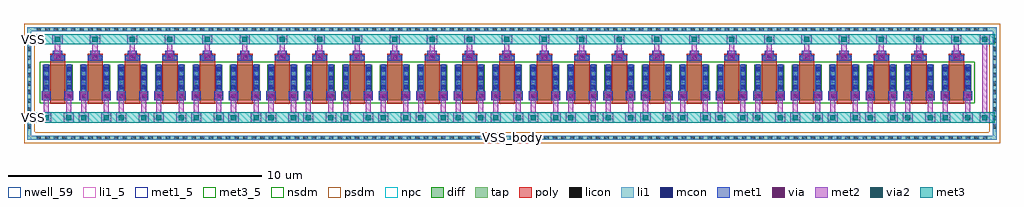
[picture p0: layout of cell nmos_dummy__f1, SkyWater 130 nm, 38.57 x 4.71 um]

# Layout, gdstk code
from math import pi, radians
import gdstk
lib = gdstk.Library(unit=1e-6, precision=1e-09)
def R(c, l, rs):  # rectangles x0, y0, x1, y1
    for r in rs: c.add(gdstk.rectangle(r[:2], r[2:], *l))
def A(c, l, x, y, w, h, nx, ny, dx, dy):  # array of equal rectangles
    R(c, l, [(x+i*dx, y+j*dy, x+i*dx+w, y+j*dy+h) for i in range(nx) for j in range(ny)])
nwell_59 = (64, 59)
diff = (65, 20)
tap = (65, 44)
poly = (66, 20)
licon = (66, 44)
li1_5 = (67, 5)
li1 = (67, 20)
mcon = (67, 44)
met1_5 = (68, 5)
met1 = (68, 20)
via = (68, 44)
met2 = (69, 20)
via2 = (69, 44)
met3_5 = (70, 5)
met3 = (70, 20)
nsdm = (93, 44)
psdm = (94, 20)
npc = (95, 20)

sky130_fd_pr__nfet_01v8_ = lib.new_cell('sky130_fd_pr__nfet_01v8_RUA5M6')
R(sky130_fd_pr__nfet_01v8_, diff, [(-0.59,-0.855,0.59,0.545)])
R(sky130_fd_pr__nfet_01v8_, poly, [(-0.3,-0.985,0.3,0.985)])
A(sky130_fd_pr__nfet_01v8_, licon, -0.53, -0.75, 0.17, 0.17, 1, 4, 0, 0.34)
A(sky130_fd_pr__nfet_01v8_, licon, 0.36, -0.75, 0.17, 0.17, 1, 4, 0, 0.34)
R(sky130_fd_pr__nfet_01v8_, licon, [(-0.085,0.735,0.085,0.905)])
R(sky130_fd_pr__nfet_01v8_, li1, [(-0.53,-0.875,-0.36,0.565), (0.36,-0.875,0.53,0.565), (-0.3,0.735,0.3,0.905)])
A(sky130_fd_pr__nfet_01v8_, mcon, -0.53, -0.78, 0.17, 0.17, 1, 4, 0, 0.36)
A(sky130_fd_pr__nfet_01v8_, mcon, 0.36, -0.78, 0.17, 0.17, 1, 4, 0, 0.36)
R(sky130_fd_pr__nfet_01v8_, mcon, [(-0.085,0.735,0.085,0.905)])
R(sky130_fd_pr__nfet_01v8_, met1, [(-0.56,-0.855,-0.33,0.545), (0.33,-0.855,0.56,0.545), (-0.28,0.705,0.28,0.935)])
R(sky130_fd_pr__nfet_01v8_, nsdm, [(-0.715,-0.98,0.715,0.67)])
R(sky130_fd_pr__nfet_01v8_, npc, [(-0.185,0.635,0.185,1.005)])
sky130_fd_pr__nfet_01v8_.add(gdstk.Label('D', (-0.445,-0.155), layer=67, texttype=5))
sky130_fd_pr__nfet_01v8_.add(gdstk.Label('S', (0.445,-0.155), layer=67, texttype=5))
sky130_fd_pr__nfet_01v8_.add(gdstk.Label('G', (0,0.82), layer=67, texttype=5))

nfet_01v8_w1p4_l0p6_m23_ = lib.new_cell('nfet_01v8_W1p4_L0p6_m23__nf1_gtop_sdfull_ng')
R(nfet_01v8_w1p4_l0p6_m23_, nwell_59, [(0.05,0.78,0.15,0.88)])
R(nfet_01v8_w1p4_l0p6_m23_, met1_5, [(0.03,0.83,0.26,1.03), (0.92,0.83,1.15,1.03), (0.31,1.69,0.87,1.92)])
R(nfet_01v8_w1p4_l0p6_m23_, met1, [(0.03,0.83,0.26,1.03), (0.92,0.83,1.15,1.03), (0.31,1.69,0.87,1.92)])
nfet_01v8_w1p4_l0p6_m23_.add(gdstk.Reference(sky130_fd_pr__nfet_01v8_, (0.59,0.985)))
nfet_01v8_w1p4_l0p6_m23_.add(gdstk.Label('D', (0.145,0.93), layer=68, texttype=5))
nfet_01v8_w1p4_l0p6_m23_.add(gdstk.Label('S', (1.035,0.93), layer=68, texttype=5))
nfet_01v8_w1p4_l0p6_m23_.add(gdstk.Label('G', (0.59,1.805), layer=68, texttype=5))
nfet_01v8_w1p4_l0p6_m23_.add(gdstk.Label('B', (0.1,0.83), layer=64, texttype=59))

nmos_dummy__f1 = lib.new_cell('nmos_dummy__f1')
R(nmos_dummy__f1, tap, [(-0.485,-1.435,37.835,-1.265), (-0.485,-1.265,-0.315,2.855), (37.665,-1.265,37.835,2.855), (-0.485,2.855,37.835,3.025)])
A(nmos_dummy__f1, licon, -0.11, -1.435, 0.17, 0.17, 111, 2, 0.34, 4.29)
A(nmos_dummy__f1, licon, -0.485, -0.99, 0.17, 0.17, 1, 11, 0, 0.34)
A(nmos_dummy__f1, licon, 37.665, -0.99, 0.17, 0.17, 1, 11, 0, 0.34)
R(nmos_dummy__f1, li1_5, [(18.625,-1.4,18.725,-1.3)])
R(nmos_dummy__f1, li1, [(-0.485,-1.435,37.835,-1.265), (-0.485,-1.265,-0.315,2.855), (37.665,-1.265,37.835,2.855), (-0.485,2.855,37.835,3.025)])
A(nmos_dummy__f1, met1, 0.535, 1.72, 0.36, 0.36, 25, 1, 1.48, 0)
R(nmos_dummy__f1, met1, [(0.09,0.13,0.45,0.49), (0.98,0.13,1.34,0.49), (1.57,0.13,1.93,0.49), (2.46,0.13,2.82,0.49), (3.05,0.13,3.41,0.49), (3.94,0.13,4.3,0.49), (4.53,0.13,4.89,0.49), (5.42,0.13,5.78,0.49), (6.01,0.13,6.37,0.49), (6.9,0.13,7.26,0.49), (7.49,0.13,7.85,0.49), (8.38,0.13,8.74,0.49), (8.97,0.13,9.33,0.49), (9.86,0.13,10.22,0.49), (10.45,0.13,10.81,0.49), (11.34,0.13,11.7,0.49), (11.93,0.13,12.29,0.49), (12.82,0.13,13.18,0.49), (13.41,0.13,13.77,0.49), (14.3,0.13,14.66,0.49), (14.89,0.13,15.25,0.49), (15.78,0.13,16.14,0.49), (16.37,0.13,16.73,0.49), (17.26,0.13,17.62,0.49), (17.85,0.13,18.21,0.49), (18.74,0.13,19.1,0.49), (19.33,0.13,19.69,0.49), (20.22,0.13,20.58,0.49), (20.81,0.13,21.17,0.49), (21.7,0.13,22.06,0.49), (22.29,0.13,22.65,0.49), (23.18,0.13,23.54,0.49), (23.77,0.13,24.13,0.49), (24.66,0.13,25.02,0.49), (25.25,0.13,25.61,0.49), (26.14,0.13,26.5,0.49), (26.73,0.13,27.09,0.49), (27.62,0.13,27.98,0.49), (28.21,0.13,28.57,0.49), (29.1,0.13,29.46,0.49), (29.69,0.13,30.05,0.49), (30.58,0.13,30.94,0.49), (31.17,0.13,31.53,0.49), (32.06,0.13,32.42,0.49), (32.65,0.13,33.01,0.49), (33.54,0.13,33.9,0.49), (34.13,0.13,34.49,0.49), (35.02,0.13,35.38,0.49), (35.61,0.13,35.97,0.49), (36.5,0.13,36.86,0.49)])
A(nmos_dummy__f1, via, 0.64, 1.825, 0.15, 0.15, 25, 1, 1.48, 0)
R(nmos_dummy__f1, via, [(0.195,0.235,0.345,0.385), (1.085,0.235,1.235,0.385), (1.675,0.235,1.825,0.385), (2.565,0.235,2.715,0.385), (3.155,0.235,3.305,0.385), (4.045,0.235,4.195,0.385), (4.635,0.235,4.785,0.385), (5.525,0.235,5.675,0.385), (6.115,0.235,6.265,0.385), (7.005,0.235,7.155,0.385), (7.595,0.235,7.745,0.385), (8.485,0.235,8.635,0.385), (9.075,0.235,9.225,0.385), (9.965,0.235,10.115,0.385), (10.555,0.235,10.705,0.385), (11.445,0.235,11.595,0.385), (12.035,0.235,12.185,0.385), (12.925,0.235,13.075,0.385), (13.515,0.235,13.665,0.385), (14.405,0.235,14.555,0.385), (14.995,0.235,15.145,0.385), (15.885,0.235,16.035,0.385), (16.475,0.235,16.625,0.385), (17.365,0.235,17.515,0.385), (17.955,0.235,18.105,0.385), (18.845,0.235,18.995,0.385), (19.435,0.235,19.585,0.385), (20.325,0.235,20.475,0.385), (20.915,0.235,21.065,0.385), (21.805,0.235,21.955,0.385), (22.395,0.235,22.545,0.385), (23.285,0.235,23.435,0.385), (23.875,0.235,24.025,0.385), (24.765,0.235,24.915,0.385), (25.355,0.235,25.505,0.385), (26.245,0.235,26.395,0.385), (26.835,0.235,26.985,0.385), (27.725,0.235,27.875,0.385), (28.315,0.235,28.465,0.385), (29.205,0.235,29.355,0.385), (29.795,0.235,29.945,0.385), (30.685,0.235,30.835,0.385), (31.275,0.235,31.425,0.385), (32.165,0.235,32.315,0.385), (32.755,0.235,32.905,0.385), (33.645,0.235,33.795,0.385), (34.235,0.235,34.385,0.385), (35.125,0.235,35.275,0.385), (35.715,0.235,35.865,0.385), (36.605,0.235,36.755,0.385)])
A(nmos_dummy__f1, met2, 0.585, 1.74, 0.26, 0.32, 25, 1, 1.48, 0)
A(nmos_dummy__f1, met2, 0.615, 2.06, 0.2, 0.28, 25, 1, 1.48, 0)
A(nmos_dummy__f1, met2, 0.515, 2.34, 0.4, 0.4, 25, 1, 1.48, 0)
R(nmos_dummy__f1, met2, [(0.07,-0.75,0.47,-0.35), (0.96,-0.75,1.36,-0.35), (1.55,-0.75,1.95,-0.35), (2.44,-0.75,2.84,-0.35), (3.03,-0.75,3.43,-0.35), (3.92,-0.75,4.32,-0.35), (4.51,-0.75,4.91,-0.35), (5.4,-0.75,5.8,-0.35), (5.99,-0.75,6.39,-0.35), (6.88,-0.75,7.28,-0.35), (7.47,-0.75,7.87,-0.35), (8.36,-0.75,8.76,-0.35), (8.95,-0.75,9.35,-0.35), (9.84,-0.75,10.24,-0.35), (10.43,-0.75,10.83,-0.35), (11.32,-0.75,11.72,-0.35), (11.91,-0.75,12.31,-0.35), (12.8,-0.75,13.2,-0.35), (13.39,-0.75,13.79,-0.35), (14.28,-0.75,14.68,-0.35), (14.87,-0.75,15.27,-0.35), (15.76,-0.75,16.16,-0.35), (16.35,-0.75,16.75,-0.35), (17.24,-0.75,17.64,-0.35), (17.83,-0.75,18.23,-0.35), (18.72,-0.75,19.12,-0.35), (19.31,-0.75,19.71,-0.35), (20.2,-0.75,20.6,-0.35), (20.79,-0.75,21.19,-0.35), (21.68,-0.75,22.08,-0.35), (22.27,-0.75,22.67,-0.35), (23.16,-0.75,23.56,-0.35), (23.75,-0.75,24.15,-0.35), (24.64,-0.75,25.04,-0.35), (25.23,-0.75,25.63,-0.35), (26.12,-0.75,26.52,-0.35), (26.71,-0.75,27.11,-0.35), (27.6,-0.75,28,-0.35), (28.19,-0.75,28.59,-0.35), (29.08,-0.75,29.48,-0.35), (29.67,-0.75,30.07,-0.35), (30.56,-0.75,30.96,-0.35), (31.15,-0.75,31.55,-0.35), (32.04,-0.75,32.44,-0.35), (32.63,-0.75,33.03,-0.35), (33.52,-0.75,33.92,-0.35), (34.11,-0.75,34.51,-0.35), (35,-0.75,35.4,-0.35), (35.59,-0.75,35.99,-0.35), (36.48,-0.75,36.88,-0.35), (37.15,-0.75,37.55,-0.35), (0.17,-0.35,0.37,0.15), (1.06,-0.35,1.26,0.15), (1.65,-0.35,1.85,0.15), (2.54,-0.35,2.74,0.15), (3.13,-0.35,3.33,0.15), (4.02,-0.35,4.22,0.15), (4.61,-0.35,4.81,0.15), (5.5,-0.35,5.7,0.15), (6.09,-0.35,6.29,0.15), (6.98,-0.35,7.18,0.15), (7.57,-0.35,7.77,0.15), (8.46,-0.35,8.66,0.15), (9.05,-0.35,9.25,0.15), (9.94,-0.35,10.14,0.15), (10.53,-0.35,10.73,0.15), (11.42,-0.35,11.62,0.15), (12.01,-0.35,12.21,0.15), (12.9,-0.35,13.1,0.15), (13.49,-0.35,13.69,0.15), (14.38,-0.35,14.58,0.15), (14.97,-0.35,15.17,0.15), (15.86,-0.35,16.06,0.15), (16.45,-0.35,16.65,0.15), (17.34,-0.35,17.54,0.15), (17.93,-0.35,18.13,0.15), (18.82,-0.35,19.02,0.15), (19.41,-0.35,19.61,0.15), (20.3,-0.35,20.5,0.15), (20.89,-0.35,21.09,0.15), (21.78,-0.35,21.98,0.15), (22.37,-0.35,22.57,0.15), (23.26,-0.35,23.46,0.15), (23.85,-0.35,24.05,0.15), (24.74,-0.35,24.94,0.15), (25.33,-0.35,25.53,0.15), (26.22,-0.35,26.42,0.15), (26.81,-0.35,27.01,0.15), (27.7,-0.35,27.9,0.15), (28.29,-0.35,28.49,0.15), (29.18,-0.35,29.38,0.15), (29.77,-0.35,29.97,0.15), (30.66,-0.35,30.86,0.15), (31.25,-0.35,31.45,0.15), (32.14,-0.35,32.34,0.15), (32.73,-0.35,32.93,0.15), (33.62,-0.35,33.82,0.15), (34.21,-0.35,34.41,0.15), (35.1,-0.35,35.3,0.15), (35.69,-0.35,35.89,0.15), (36.58,-0.35,36.78,0.15), (37.25,-0.35,37.45,2.34), (0.14,0.15,0.4,0.47), (1.03,0.15,1.29,0.47), (1.62,0.15,1.88,0.47), (2.51,0.15,2.77,0.47), (3.1,0.15,3.36,0.47), (3.99,0.15,4.25,0.47), (4.58,0.15,4.84,0.47), (5.47,0.15,5.73,0.47), (6.06,0.15,6.32,0.47), (6.95,0.15,7.21,0.47), (7.54,0.15,7.8,0.47), (8.43,0.15,8.69,0.47), (9.02,0.15,9.28,0.47), (9.91,0.15,10.17,0.47), (10.5,0.15,10.76,0.47), (11.39,0.15,11.65,0.47), (11.98,0.15,12.24,0.47), (12.87,0.15,13.13,0.47), (13.46,0.15,13.72,0.47), (14.35,0.15,14.61,0.47), (14.94,0.15,15.2,0.47), (15.83,0.15,16.09,0.47), (16.42,0.15,16.68,0.47), (17.31,0.15,17.57,0.47), (17.9,0.15,18.16,0.47), (18.79,0.15,19.05,0.47), (19.38,0.15,19.64,0.47), (20.27,0.15,20.53,0.47), (20.86,0.15,21.12,0.47), (21.75,0.15,22.01,0.47), (22.34,0.15,22.6,0.47), (23.23,0.15,23.49,0.47), (23.82,0.15,24.08,0.47), (24.71,0.15,24.97,0.47), (25.3,0.15,25.56,0.47), (26.19,0.15,26.45,0.47), (26.78,0.15,27.04,0.47), (27.67,0.15,27.93,0.47), (28.26,0.15,28.52,0.47), (29.15,0.15,29.41,0.47), (29.74,0.15,30,0.47), (30.63,0.15,30.89,0.47), (31.22,0.15,31.48,0.47), (32.11,0.15,32.37,0.47), (32.7,0.15,32.96,0.47), (33.59,0.15,33.85,0.47), (34.18,0.15,34.44,0.47), (35.07,0.15,35.33,0.47), (35.66,0.15,35.92,0.47), (36.55,0.15,36.81,0.47), (37.15,2.34,37.55,2.74)])
A(nmos_dummy__f1, via2, 0.615, 2.44, 0.2, 0.2, 25, 1, 1.48, 0)
R(nmos_dummy__f1, via2, [(0.17,-0.65,0.37,-0.45), (1.06,-0.65,1.26,-0.45), (1.65,-0.65,1.85,-0.45), (2.54,-0.65,2.74,-0.45), (3.13,-0.65,3.33,-0.45), (4.02,-0.65,4.22,-0.45), (4.61,-0.65,4.81,-0.45), (5.5,-0.65,5.7,-0.45), (6.09,-0.65,6.29,-0.45), (6.98,-0.65,7.18,-0.45), (7.57,-0.65,7.77,-0.45), (8.46,-0.65,8.66,-0.45), (9.05,-0.65,9.25,-0.45), (9.94,-0.65,10.14,-0.45), (10.53,-0.65,10.73,-0.45), (11.42,-0.65,11.62,-0.45), (12.01,-0.65,12.21,-0.45), (12.9,-0.65,13.1,-0.45), (13.49,-0.65,13.69,-0.45), (14.38,-0.65,14.58,-0.45), (14.97,-0.65,15.17,-0.45), (15.86,-0.65,16.06,-0.45), (16.45,-0.65,16.65,-0.45), (17.34,-0.65,17.54,-0.45), (17.93,-0.65,18.13,-0.45), (18.82,-0.65,19.02,-0.45), (19.41,-0.65,19.61,-0.45), (20.3,-0.65,20.5,-0.45), (20.89,-0.65,21.09,-0.45), (21.78,-0.65,21.98,-0.45), (22.37,-0.65,22.57,-0.45), (23.26,-0.65,23.46,-0.45), (23.85,-0.65,24.05,-0.45), (24.74,-0.65,24.94,-0.45), (25.33,-0.65,25.53,-0.45), (26.22,-0.65,26.42,-0.45), (26.81,-0.65,27.01,-0.45), (27.7,-0.65,27.9,-0.45), (28.29,-0.65,28.49,-0.45), (29.18,-0.65,29.38,-0.45), (29.77,-0.65,29.97,-0.45), (30.66,-0.65,30.86,-0.45), (31.25,-0.65,31.45,-0.45), (32.14,-0.65,32.34,-0.45), (32.73,-0.65,32.93,-0.45), (33.62,-0.65,33.82,-0.45), (34.21,-0.65,34.41,-0.45), (35.1,-0.65,35.3,-0.45), (35.69,-0.65,35.89,-0.45), (36.58,-0.65,36.78,-0.45), (37.25,-0.65,37.45,-0.45), (37.25,2.44,37.45,2.64)])
R(nmos_dummy__f1, met3_5, [(-0.3,-0.6,-0.2,-0.5), (-0.3,2.49,-0.2,2.59)])
R(nmos_dummy__f1, met3, [(-0.4,-0.75,37.75,-0.35), (-0.4,2.34,37.75,2.74)])
A(nmos_dummy__f1, nsdm, 1.435, 0.005, 0.05, 1.65, 24, 1, 1.48, 0)
R(nmos_dummy__f1, psdm, [(-0.61,-1.56,37.96,-1.14), (-0.61,-1.14,-0.19,2.73), (37.54,-1.14,37.96,2.73), (-0.61,2.73,37.96,3.15)])
nmos_dummy__f1.add(gdstk.Reference(nfet_01v8_w1p4_l0p6_m23_, (36.83,0), rotation=pi, x_reflection=True))
nmos_dummy__f1.add(gdstk.Reference(nfet_01v8_w1p4_l0p6_m23_, (35.35,0), rotation=pi, x_reflection=True))
nmos_dummy__f1.add(gdstk.Reference(nfet_01v8_w1p4_l0p6_m23_, (33.87,0), rotation=pi, x_reflection=True))
nmos_dummy__f1.add(gdstk.Reference(nfet_01v8_w1p4_l0p6_m23_, (32.39,0), rotation=pi, x_reflection=True))
nmos_dummy__f1.add(gdstk.Reference(nfet_01v8_w1p4_l0p6_m23_, (30.91,0), rotation=pi, x_reflection=True))
nmos_dummy__f1.add(gdstk.Reference(nfet_01v8_w1p4_l0p6_m23_, (29.43,0), rotation=pi, x_reflection=True))
nmos_dummy__f1.add(gdstk.Reference(nfet_01v8_w1p4_l0p6_m23_, (27.95,0), rotation=pi, x_reflection=True))
nmos_dummy__f1.add(gdstk.Reference(nfet_01v8_w1p4_l0p6_m23_, (26.47,0), rotation=pi, x_reflection=True))
nmos_dummy__f1.add(gdstk.Reference(nfet_01v8_w1p4_l0p6_m23_, (24.99,0), rotation=pi, x_reflection=True))
nmos_dummy__f1.add(gdstk.Reference(nfet_01v8_w1p4_l0p6_m23_, (23.51,0), rotation=pi, x_reflection=True))
nmos_dummy__f1.add(gdstk.Reference(nfet_01v8_w1p4_l0p6_m23_, (22.03,0), rotation=pi, x_reflection=True))
nmos_dummy__f1.add(gdstk.Reference(nfet_01v8_w1p4_l0p6_m23_, (20.55,0), rotation=pi, x_reflection=True))
nmos_dummy__f1.add(gdstk.Reference(nfet_01v8_w1p4_l0p6_m23_, (17.89,0)))
nmos_dummy__f1.add(gdstk.Reference(nfet_01v8_w1p4_l0p6_m23_, (16.41,0)))
nmos_dummy__f1.add(gdstk.Reference(nfet_01v8_w1p4_l0p6_m23_, (14.93,0)))
nmos_dummy__f1.add(gdstk.Reference(nfet_01v8_w1p4_l0p6_m23_, (13.45,0)))
nmos_dummy__f1.add(gdstk.Reference(nfet_01v8_w1p4_l0p6_m23_, (11.97,0)))
nmos_dummy__f1.add(gdstk.Reference(nfet_01v8_w1p4_l0p6_m23_, (10.49,0)))
nmos_dummy__f1.add(gdstk.Reference(nfet_01v8_w1p4_l0p6_m23_, (9.01,0)))
nmos_dummy__f1.add(gdstk.Reference(nfet_01v8_w1p4_l0p6_m23_, (7.53,0)))
nmos_dummy__f1.add(gdstk.Reference(nfet_01v8_w1p4_l0p6_m23_, (6.05,0)))
nmos_dummy__f1.add(gdstk.Reference(nfet_01v8_w1p4_l0p6_m23_, (4.57,0)))
nmos_dummy__f1.add(gdstk.Reference(nfet_01v8_w1p4_l0p6_m23_, (3.09,0)))
nmos_dummy__f1.add(gdstk.Reference(nfet_01v8_w1p4_l0p6_m23_, (1.61,0)))
nmos_dummy__f1.add(gdstk.Reference(nfet_01v8_w1p4_l0p6_m23_, (0.13,0)))
nmos_dummy__f1.add(gdstk.Label('VSS', (-0.25,2.54), layer=70, texttype=5))
nmos_dummy__f1.add(gdstk.Label('VSS', (-0.25,-0.55), layer=70, texttype=5))
nmos_dummy__f1.add(gdstk.Label('VSS_body', (18.675,-1.35), layer=67, texttype=5))

lib.write_gds('nmos_dummy__f1.gds')
